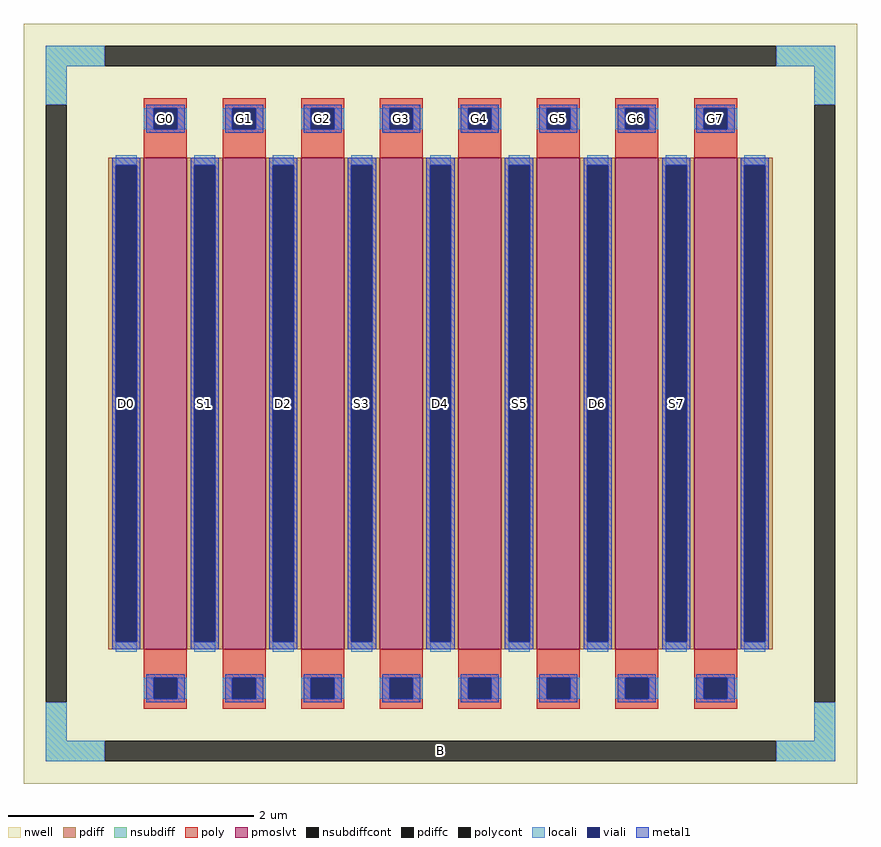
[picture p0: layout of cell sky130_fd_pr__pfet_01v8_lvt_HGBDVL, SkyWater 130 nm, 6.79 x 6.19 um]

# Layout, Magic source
magic
tech sky130A
magscale 1 2
<< nwell >>
rect -679 -619 679 619
<< pmoslvt >>
rect -483 -400 -413 400
rect -355 -400 -285 400
rect -227 -400 -157 400
rect -99 -400 -29 400
rect 29 -400 99 400
rect 157 -400 227 400
rect 285 -400 355 400
rect 413 -400 483 400
<< pdiff >>
rect -541 388 -483 400
rect -541 -388 -529 388
rect -495 -388 -483 388
rect -541 -400 -483 -388
rect -413 388 -355 400
rect -413 -388 -401 388
rect -367 -388 -355 388
rect -413 -400 -355 -388
rect -285 388 -227 400
rect -285 -388 -273 388
rect -239 -388 -227 388
rect -285 -400 -227 -388
rect -157 388 -99 400
rect -157 -388 -145 388
rect -111 -388 -99 388
rect -157 -400 -99 -388
rect -29 388 29 400
rect -29 -388 -17 388
rect 17 -388 29 388
rect -29 -400 29 -388
rect 99 388 157 400
rect 99 -388 111 388
rect 145 -388 157 388
rect 99 -400 157 -388
rect 227 388 285 400
rect 227 -388 239 388
rect 273 -388 285 388
rect 227 -400 285 -388
rect 355 388 413 400
rect 355 -388 367 388
rect 401 -388 413 388
rect 355 -400 413 -388
rect 483 388 541 400
rect 483 -388 495 388
rect 529 -388 541 388
rect 483 -400 541 -388
<< pdiffc >>
rect -529 -388 -495 388
rect -401 -388 -367 388
rect -273 -388 -239 388
rect -145 -388 -111 388
rect -17 -388 17 388
rect 111 -388 145 388
rect 239 -388 273 388
rect 367 -388 401 388
rect 495 -388 529 388
<< nsubdiff >>
rect -643 549 -547 583
rect 547 549 643 583
rect -643 487 -609 549
rect 609 487 643 549
rect -643 -549 -609 -487
rect 609 -549 643 -487
rect -643 -583 -547 -549
rect 547 -583 643 -549
<< nsubdiffcont >>
rect -547 549 547 583
rect -643 -487 -609 487
rect 609 -487 643 487
rect -547 -583 547 -549
<< poly >>
rect -483 481 -413 497
rect -483 447 -467 481
rect -429 447 -413 481
rect -483 400 -413 447
rect -355 481 -285 497
rect -355 447 -339 481
rect -301 447 -285 481
rect -355 400 -285 447
rect -227 481 -157 497
rect -227 447 -211 481
rect -173 447 -157 481
rect -227 400 -157 447
rect -99 481 -29 497
rect -99 447 -83 481
rect -45 447 -29 481
rect -99 400 -29 447
rect 29 481 99 497
rect 29 447 45 481
rect 83 447 99 481
rect 29 400 99 447
rect 157 481 227 497
rect 157 447 173 481
rect 211 447 227 481
rect 157 400 227 447
rect 285 481 355 497
rect 285 447 301 481
rect 339 447 355 481
rect 285 400 355 447
rect 413 481 483 497
rect 413 447 429 481
rect 467 447 483 481
rect 413 400 483 447
rect -483 -447 -413 -400
rect -483 -481 -467 -447
rect -429 -481 -413 -447
rect -483 -497 -413 -481
rect -355 -447 -285 -400
rect -355 -481 -339 -447
rect -301 -481 -285 -447
rect -355 -497 -285 -481
rect -227 -447 -157 -400
rect -227 -481 -211 -447
rect -173 -481 -157 -447
rect -227 -497 -157 -481
rect -99 -447 -29 -400
rect -99 -481 -83 -447
rect -45 -481 -29 -447
rect -99 -497 -29 -481
rect 29 -447 99 -400
rect 29 -481 45 -447
rect 83 -481 99 -447
rect 29 -497 99 -481
rect 157 -447 227 -400
rect 157 -481 173 -447
rect 211 -481 227 -447
rect 157 -497 227 -481
rect 285 -447 355 -400
rect 285 -481 301 -447
rect 339 -481 355 -447
rect 285 -497 355 -481
rect 413 -447 483 -400
rect 413 -481 429 -447
rect 467 -481 483 -447
rect 413 -497 483 -481
<< polycont >>
rect -467 447 -429 481
rect -339 447 -301 481
rect -211 447 -173 481
rect -83 447 -45 481
rect 45 447 83 481
rect 173 447 211 481
rect 301 447 339 481
rect 429 447 467 481
rect -467 -481 -429 -447
rect -339 -481 -301 -447
rect -211 -481 -173 -447
rect -83 -481 -45 -447
rect 45 -481 83 -447
rect 173 -481 211 -447
rect 301 -481 339 -447
rect 429 -481 467 -447
<< locali >>
rect -643 549 -547 583
rect 547 549 643 583
rect -643 487 -609 549
rect 609 487 643 549
rect -483 447 -467 481
rect -429 447 -413 481
rect -355 447 -339 481
rect -301 447 -285 481
rect -227 447 -211 481
rect -173 447 -157 481
rect -99 447 -83 481
rect -45 447 -29 481
rect 29 447 45 481
rect 83 447 99 481
rect 157 447 173 481
rect 211 447 227 481
rect 285 447 301 481
rect 339 447 355 481
rect 413 447 429 481
rect 467 447 483 481
rect -529 388 -495 404
rect -529 -404 -495 -388
rect -401 388 -367 404
rect -401 -404 -367 -388
rect -273 388 -239 404
rect -273 -404 -239 -388
rect -145 388 -111 404
rect -145 -404 -111 -388
rect -17 388 17 404
rect -17 -404 17 -388
rect 111 388 145 404
rect 111 -404 145 -388
rect 239 388 273 404
rect 239 -404 273 -388
rect 367 388 401 404
rect 367 -404 401 -388
rect 495 388 529 404
rect 495 -404 529 -388
rect -483 -481 -467 -447
rect -429 -481 -413 -447
rect -355 -481 -339 -447
rect -301 -481 -285 -447
rect -227 -481 -211 -447
rect -173 -481 -157 -447
rect -99 -481 -83 -447
rect -45 -481 -29 -447
rect 29 -481 45 -447
rect 83 -481 99 -447
rect 157 -481 173 -447
rect 211 -481 227 -447
rect 285 -481 301 -447
rect 339 -481 355 -447
rect 413 -481 429 -447
rect 467 -481 483 -447
rect -643 -549 -609 -487
rect 609 -549 643 -487
rect -643 -583 -547 -549
rect 547 -583 643 -549
<< viali >>
rect -467 447 -429 481
rect -339 447 -301 481
rect -211 447 -173 481
rect -83 447 -45 481
rect 45 447 83 481
rect 173 447 211 481
rect 301 447 339 481
rect 429 447 467 481
rect -529 -388 -495 388
rect -401 -388 -367 388
rect -273 -388 -239 388
rect -145 -388 -111 388
rect -17 -388 17 388
rect 111 -388 145 388
rect 239 -388 273 388
rect 367 -388 401 388
rect 495 -388 529 388
rect -467 -481 -429 -447
rect -339 -481 -301 -447
rect -211 -481 -173 -447
rect -83 -481 -45 -447
rect 45 -481 83 -447
rect 173 -481 211 -447
rect 301 -481 339 -447
rect 429 -481 467 -447
<< metal1 >>
rect -479 481 -417 487
rect -479 447 -467 481
rect -429 447 -417 481
rect -479 441 -417 447
rect -351 481 -289 487
rect -351 447 -339 481
rect -301 447 -289 481
rect -351 441 -289 447
rect -223 481 -161 487
rect -223 447 -211 481
rect -173 447 -161 481
rect -223 441 -161 447
rect -95 481 -33 487
rect -95 447 -83 481
rect -45 447 -33 481
rect -95 441 -33 447
rect 33 481 95 487
rect 33 447 45 481
rect 83 447 95 481
rect 33 441 95 447
rect 161 481 223 487
rect 161 447 173 481
rect 211 447 223 481
rect 161 441 223 447
rect 289 481 351 487
rect 289 447 301 481
rect 339 447 351 481
rect 289 441 351 447
rect 417 481 479 487
rect 417 447 429 481
rect 467 447 479 481
rect 417 441 479 447
rect -535 388 -489 400
rect -535 -388 -529 388
rect -495 -388 -489 388
rect -535 -400 -489 -388
rect -407 388 -361 400
rect -407 -388 -401 388
rect -367 -388 -361 388
rect -407 -400 -361 -388
rect -279 388 -233 400
rect -279 -388 -273 388
rect -239 -388 -233 388
rect -279 -400 -233 -388
rect -151 388 -105 400
rect -151 -388 -145 388
rect -111 -388 -105 388
rect -151 -400 -105 -388
rect -23 388 23 400
rect -23 -388 -17 388
rect 17 -388 23 388
rect -23 -400 23 -388
rect 105 388 151 400
rect 105 -388 111 388
rect 145 -388 151 388
rect 105 -400 151 -388
rect 233 388 279 400
rect 233 -388 239 388
rect 273 -388 279 388
rect 233 -400 279 -388
rect 361 388 407 400
rect 361 -388 367 388
rect 401 -388 407 388
rect 361 -400 407 -388
rect 489 388 535 400
rect 489 -388 495 388
rect 529 -388 535 388
rect 489 -400 535 -388
rect -479 -447 -417 -441
rect -479 -481 -467 -447
rect -429 -481 -417 -447
rect -479 -487 -417 -481
rect -351 -447 -289 -441
rect -351 -481 -339 -447
rect -301 -481 -289 -447
rect -351 -487 -289 -481
rect -223 -447 -161 -441
rect -223 -481 -211 -447
rect -173 -481 -161 -447
rect -223 -487 -161 -481
rect -95 -447 -33 -441
rect -95 -481 -83 -447
rect -45 -481 -33 -447
rect -95 -487 -33 -481
rect 33 -447 95 -441
rect 33 -481 45 -447
rect 83 -481 95 -447
rect 33 -487 95 -481
rect 161 -447 223 -441
rect 161 -481 173 -447
rect 211 -481 223 -447
rect 161 -487 223 -481
rect 289 -447 351 -441
rect 289 -481 301 -447
rect 339 -481 351 -447
rect 289 -487 351 -481
rect 417 -447 479 -441
rect 417 -481 429 -447
rect 467 -481 479 -447
rect 417 -487 479 -481
<< labels >>
rlabel nsubdiffcont 0 -566 0 -566 0 B
port 1 nsew
rlabel pdiffc -512 0 -512 0 0 D0
port 2 nsew
rlabel polycont -448 464 -448 464 0 G0
port 3 nsew
rlabel pdiffc -384 0 -384 0 0 S1
port 4 nsew
rlabel polycont -320 464 -320 464 0 G1
port 5 nsew
rlabel pdiffc -256 0 -256 0 0 D2
port 6 nsew
rlabel polycont -192 464 -192 464 0 G2
port 7 nsew
rlabel pdiffc -128 0 -128 0 0 S3
port 8 nsew
rlabel polycont -64 464 -64 464 0 G3
port 9 nsew
rlabel pdiffc 0 0 0 0 0 D4
port 10 nsew
rlabel polycont 64 464 64 464 0 G4
port 11 nsew
rlabel pdiffc 128 0 128 0 0 S5
port 12 nsew
rlabel polycont 192 464 192 464 0 G5
port 13 nsew
rlabel pdiffc 256 0 256 0 0 D6
port 14 nsew
rlabel polycont 320 464 320 464 0 G6
port 15 nsew
rlabel pdiffc 384 0 384 0 0 S7
port 16 nsew
rlabel polycont 448 464 448 464 0 G7
port 17 nsew
<< properties >>
string FIXED_BBOX -626 -566 626 566
string gencell sky130_fd_pr__pfet_01v8_lvt
string library sky130
string parameters w 4.0 l 0.35 m 1 nf 8 diffcov 100 polycov 100 guard 1 glc 1 grc 1 gtc 1 gbc 1 tbcov 100 rlcov 100 topc 1 botc 1 poverlap 0 doverlap 1 lmin 0.35 wmin 0.42 class mosfet compatible {sky130_fd_pr__pfet_01v8  sky130_fd_pr__pfet_01v8_lvt sky130_fd_pr__pfet_01v8_hvt  sky130_fd_pr__pfet_g5v0d10v5} full_metal 1 conn_gates 0 viasrc 100 viadrn 100 viagate 100 viagb 0 viagr 0 viagl 0 viagt 0 doports 1
<< end >>
